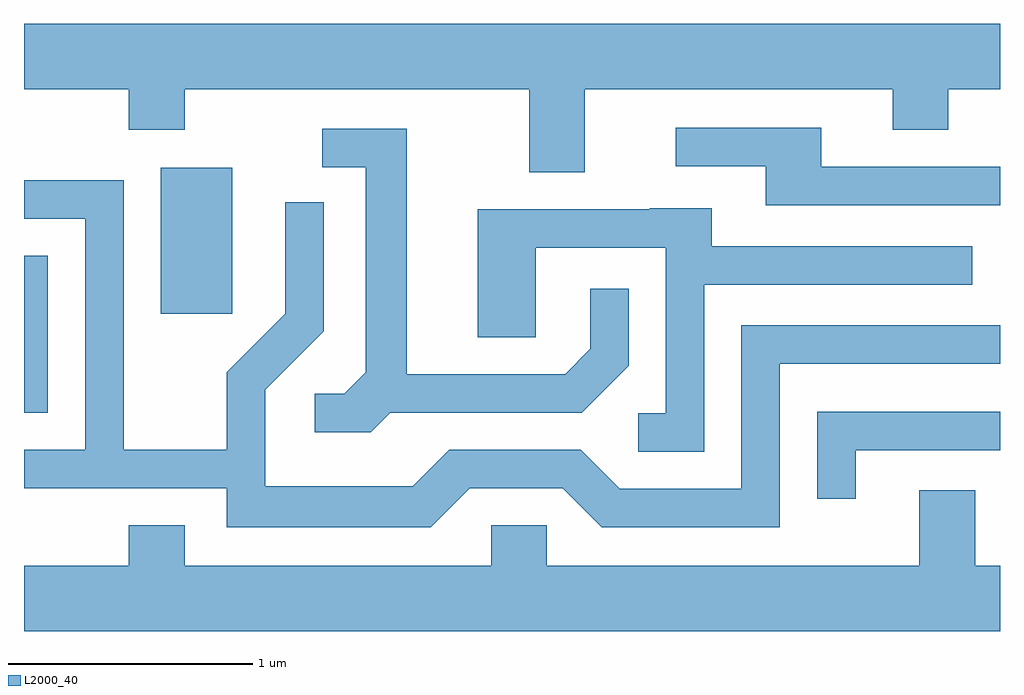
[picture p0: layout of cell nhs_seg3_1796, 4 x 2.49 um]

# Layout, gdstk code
import gdstk
lib = gdstk.Library(unit=1e-6, precision=1e-09)
def R(c, l, rs):  # rectangles x0, y0, x1, y1
    for r in rs: c.add(gdstk.rectangle(r[:2], r[2:], *l))
def P(c, l, *ps):  # polygons
    for p in ps: c.add(gdstk.Polygon(p, *l))
L2000_40 = (2000, 40)

nhs_seg3_1796 = lib.new_cell('nhs_seg3_1796')
R(nhs_seg3_1796, L2000_40, [(237.611,1173.531,237.709,1174.174), (238.171,1173.936,238.464,1174.534)])
P(nhs_seg3_1796, L2000_40, [(239.909,1174.856),(241.171,1174.856),(241.171,1174.691),(241.399,1174.691),(241.399,1174.856),(241.611,1174.856),(241.611,1175.124),(237.611,1175.124),(237.611,1174.856),(238.041,1174.856),(238.041,1174.691),(238.269,1174.691),(238.269,1174.856),(239.681,1174.856),(239.681,1174.516),(239.909,1174.516)],
  [(241.611,1174.539),(240.879,1174.539),(240.879,1174.699),(240.283,1174.699),(240.283,1174.541),(240.651,1174.541),(240.651,1174.381),(241.611,1174.381)],
  [(239.112,1173.531),(239.897,1173.531),(240.089,1173.724),(240.089,1174.038),(239.931,1174.038),(239.931,1173.792),(239.829,1173.689),(239.179,1173.689),(239.179,1174.694),(238.833,1174.694),(238.833,1174.536),(239.011,1174.536),(239.011,1173.697),(238.924,1173.609),(238.803,1173.609),(238.803,1173.451),(239.032,1173.451)],
  [(239.437,1173.221),(239.819,1173.221),(239.979,1173.061),(240.709,1173.061),(240.709,1173.731),(241.611,1173.731),(241.611,1173.889),(240.551,1173.889),(240.551,1173.219),(240.052,1173.219),(239.892,1173.379),(239.354,1173.379),(239.204,1173.229),(238.599,1173.229),(238.599,1173.624),(238.839,1173.864),(238.839,1174.393),(238.681,1174.393),(238.681,1173.937),(238.441,1173.697),(238.441,1173.379),(238.019,1173.379),(238.019,1174.484),(237.611,1174.484),(237.611,1174.326),(237.861,1174.326),(237.861,1173.379),(237.611,1173.379),(237.611,1173.221),(238.441,1173.221),(238.441,1173.061),(239.277,1173.061)],
  [(240.399,1174.056),(241.498,1174.056),(241.498,1174.214),(240.429,1174.214),(240.429,1174.369),(240.175,1174.369),(240.175,1174.364),(239.471,1174.364),(239.471,1173.841),(239.709,1173.841),(239.709,1174.206),(240.241,1174.206),(240.241,1173.529),(240.128,1173.529),(240.128,1173.371),(240.399,1173.371)],
  [(241.019,1173.376),(241.611,1173.376),(241.611,1173.534),(240.861,1173.534),(240.861,1173.178),(241.019,1173.178)],
  [(241.611,1172.904),(241.509,1172.904),(241.509,1173.214),(241.281,1173.214),(241.281,1172.904),(239.754,1172.904),(239.754,1173.069),(239.526,1173.069),(239.526,1172.904),(238.269,1172.904),(238.269,1173.069),(238.041,1173.069),(238.041,1172.904),(237.611,1172.904),(237.611,1172.636),(241.611,1172.636)])

lib.write_gds('nhs_seg3_1796.gds')
